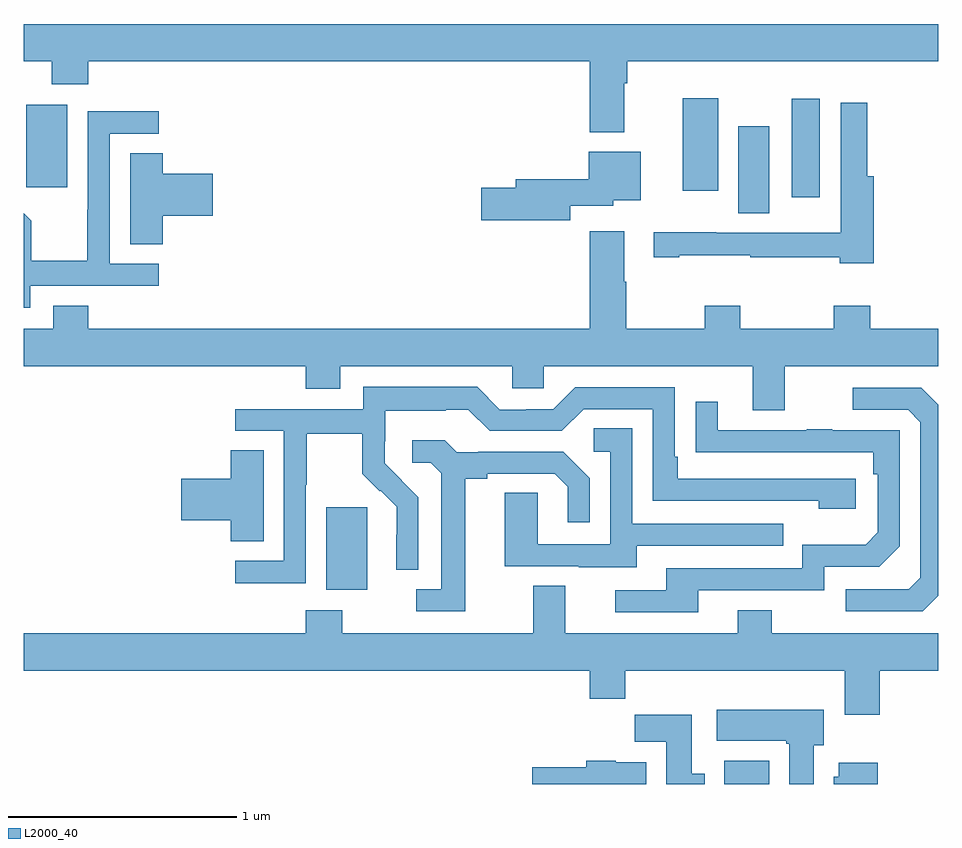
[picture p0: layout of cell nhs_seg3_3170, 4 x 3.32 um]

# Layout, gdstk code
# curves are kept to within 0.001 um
import gdstk
lib = gdstk.Library(unit=1e-6, precision=1e-09)
def R(c, l, rs):  # rectangles x0, y0, x1, y1
    for r in rs: c.add(gdstk.rectangle(r[:2], r[2:], *l))
def P(c, l, *ps):  # polygons
    for p in ps: c.add(gdstk.Polygon(p, *l))
L2000_40 = (2000, 40)

nhs_seg3_3170 = lib.new_cell('nhs_seg3_3170')
R(nhs_seg3_3170, L2000_40, [(278.063,720.4,278.26,720.502), (276.323,721.25,276.502,721.611), (278.126,722.896,278.26,723.277), (278.36,722.967,278.482,723.397), (277.883,722.994,278.038,723.4), (275.012,723.009,275.191,723.37)])
P(nhs_seg3_3170, L2000_40, [(277.627,723.464),(277.64,723.464),(277.64,723.56),(279,723.56),(279,723.724),(275,723.724),(275,723.56),(275.122,723.56),(275.122,723.461),(275.282,723.461),(275.282,723.56),(277.475,723.56),(277.475,723.251),(277.627,723.251)],
  [(278.717,723.058),(278.69,723.058),(278.69,723.379),(278.574,723.379),(278.574,722.812),(278.364,722.812),(278.364,722.811),(278.03,722.811),(278.03,722.813),(277.755,722.813),(277.755,722.703),(277.867,722.703),(277.867,722.713),(278.177,722.713),(278.177,722.703),(278.57,722.703),(278.57,722.678),(278.717,722.678)],
  [(275.028,722.58),(275.59,722.58),(275.59,722.676),(275.376,722.676),(275.376,723.243),(275.59,723.243),(275.59,723.342),(275.28,723.342),(275.28,722.912),(275.278,722.912),(275.278,722.689),(275.033,722.689),(275.033,722.863),(275,722.896),(275,722.483),(275.028,722.483)],
  [(277.39,722.928),(277.578,722.928),(277.578,722.954),(277.699,722.954),(277.699,723.166),(277.472,723.166),(277.472,723.044),(277.151,723.044),(277.151,723.008),(277.002,723.008),(277.002,722.866),(277.39,722.866)],
  [(275.609,722.885),(275.827,722.885),(275.827,723.068),(275.609,723.068),(275.609,723.158),(275.465,723.158),(275.465,722.761),(275.609,722.761)],
  [(278.329,722.228),(279,722.228),(279,722.392),(278.702,722.392),(278.702,722.491),(278.542,722.491),(278.542,722.392),(278.133,722.392),(278.133,722.491),(277.978,722.491),(277.978,722.392),(277.635,722.392),(277.635,722.597),(277.627,722.597),(277.627,722.818),(277.475,722.818),(277.475,722.392),(275.282,722.392),(275.282,722.491),(275.129,722.491),(275.129,722.392),(275,722.392),(275,722.228),(276.233,722.228),(276.233,722.129),(276.385,722.129),(276.385,722.228),(277.137,722.228),(277.137,722.13),(277.275,722.13),(277.275,722.228),(278.189,722.228),(278.189,722.034),(278.329,722.034)],
  [(276.234,721.708),(276.237,721.708),(276.237,721.932),(276.481,721.932),(276.481,721.757),(276.558,721.68),(276.561,721.683),(276.632,721.613),(276.632,721.49),(276.63,721.49),(276.63,721.336),(276.726,721.336),(276.726,721.654),(276.58,721.802),(276.58,721.899),(276.582,721.899),(276.582,722.033),(276.845,722.033),(276.845,722.037),(276.945,722.037),(277.038,721.944),(277.353,721.944),(277.449,722.04),(277.752,722.04),(277.752,721.638),(278.477,721.638),(278.477,721.604),(278.638,721.604),(278.638,721.734),(277.861,721.734),(277.861,721.831),(277.848,721.831),(277.848,722.136),(277.413,722.136),(277.317,722.04),(277.199,722.04),(277.199,722.037),(277.083,722.037),(276.983,722.137),(276.486,722.137),(276.486,722.04),(275.925,722.04),(275.925,721.944),(276.138,721.944),(276.138,721.377),(275.925,721.377),(275.925,721.279),(276.234,721.279)],
  [(279,721.224),(279,722.058),(278.925,722.133),(278.625,722.133),(278.625,722.037),(278.868,722.037),(278.922,721.983),(278.922,721.302),(278.871,721.251),(278.595,721.251),(278.595,721.155),(278.931,721.155)],
  [(277.951,721.248),(278.502,721.248),(278.502,721.35),(278.742,721.35),(278.832,721.44),(278.832,721.947),(278.537,721.947),(278.537,721.952),(278.425,721.952),(278.425,721.947),(278.035,721.947),(278.035,722.071),(277.939,722.071),(277.939,721.852),(278.716,721.851),(278.716,721.754),(278.736,721.754),(278.736,721.5),(278.683,721.447),(278.406,721.447),(278.406,721.344),(277.811,721.344),(277.811,721.248),(277.587,721.248),(277.587,721.152),(277.951,721.152)],
  [(277.681,721.443),(278.321,721.443),(278.321,721.539),(277.662,721.539),(277.662,721.955),(277.494,721.955),(277.494,721.854),(277.566,721.854),(277.566,721.449),(277.248,721.449),(277.248,721.673),(277.103,721.673),(277.103,721.353),(277.427,721.353),(277.427,721.349),(277.681,721.349)],
  [(276.931,721.736),(277.027,721.736),(277.027,721.758),(277.322,721.758),(277.379,721.701),(277.379,721.545),(277.476,721.545),(277.476,721.738),(277.36,721.854),(276.988,721.854),(276.988,721.851),(276.894,721.851),(276.842,721.903),(276.699,721.903),(276.699,721.806),(276.78,721.806),(276.827,721.759),(276.827,721.251),(276.717,721.251),(276.717,721.155),(276.931,721.155)],
  [(276.049,721.859),(275.906,721.859),(275.906,721.736),(275.688,721.736),(275.688,721.553),(275.906,721.553),(275.906,721.462),(276.049,721.462)],
  [(278.744,720.896),(279,720.896),(279,721.06),(278.271,721.06),(278.271,721.159),(278.123,721.159),(278.123,721.06),(277.369,721.06),(277.369,721.268),(277.229,721.268),(277.229,721.06),(276.393,721.06),(276.393,721.159),(276.233,721.159),(276.233,721.06),(275,721.06),(275,720.896),(277.475,720.896),(277.475,720.772),(277.631,720.772),(277.631,720.896),(278.591,720.896),(278.591,720.702),(278.744,720.702)],
  [(278.455,720.57),(278.5,720.57),(278.5,720.724),(278.031,720.724),(278.031,720.59),(278.335,720.59),(278.335,720.577),(278.348,720.577),(278.348,720.4),(278.455,720.4)],
  [(277.978,720.444),(277.921,720.444),(277.921,720.703),(277.672,720.703),(277.672,720.584),(277.811,720.584),(277.811,720.4),(277.978,720.4)],
  [(277.723,720.496),(277.59,720.496),(277.59,720.502),(277.46,720.502),(277.46,720.474),(277.224,720.474),(277.224,720.4),(277.723,720.4)],
  [(278.735,720.493),(278.564,720.493),(278.564,720.432),(278.543,720.432),(278.543,720.4),(278.735,720.4)])

lib.write_gds('nhs_seg3_3170.gds')
